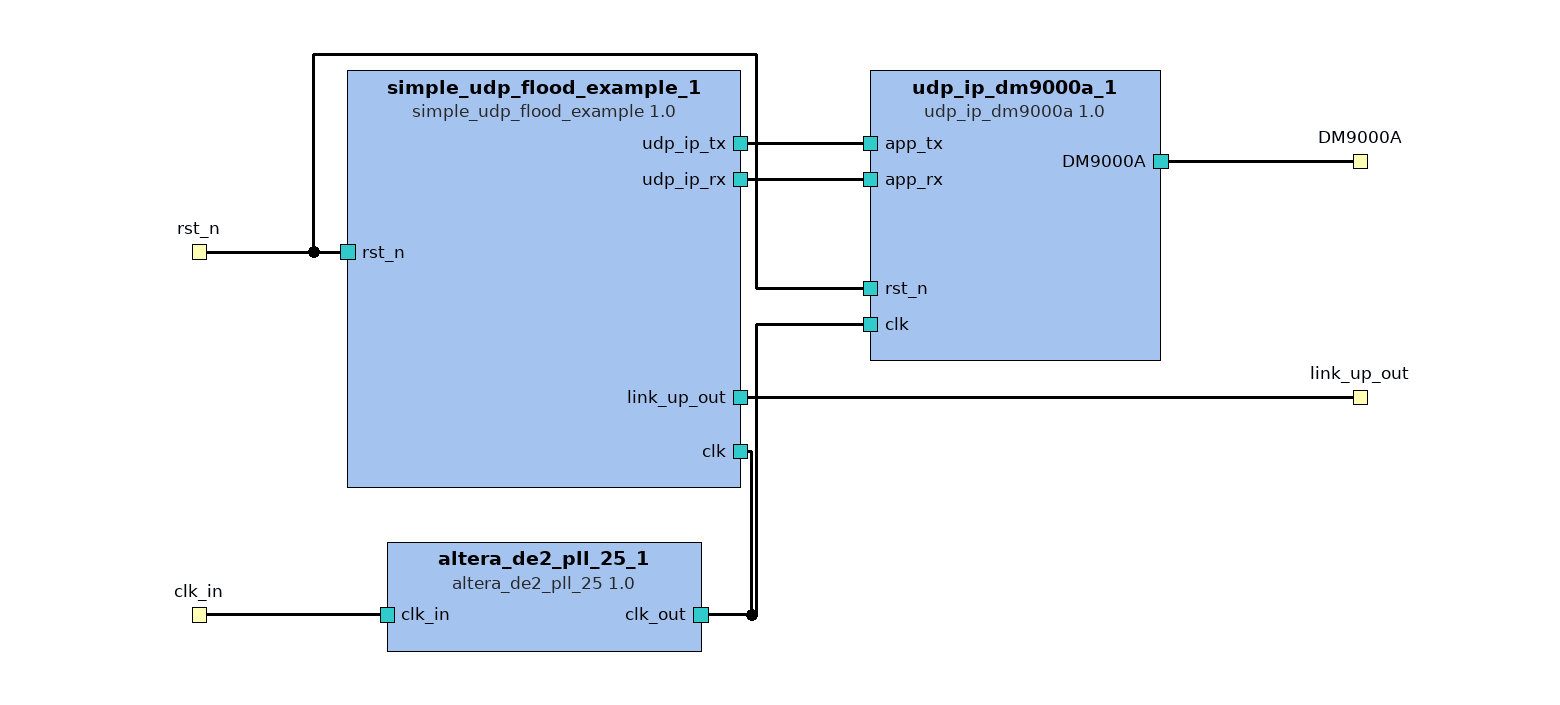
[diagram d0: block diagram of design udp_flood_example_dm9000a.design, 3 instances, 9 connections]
<?xml version="1.0" encoding="UTF-8"?>
<!-- Created by Kactus2 - Open source IP-Xact toolset -->
<!-- http://sourceforge.net/projects/kactus2/ -->
<!-- Date: 18.01.2013 -->
<!-- Time: 12:46:25 -->
<spirit:design xmlns:kactus2="http://funbase.cs.tut.fi/" xmlns:spirit="http://www.spiritconsortium.org/XMLSchema/SPIRIT/1.5" xmlns:xsi="http://www.w3.org/2001/XMLSchema-instance" xsi:schemaLocation="http://www.spiritconsortium.org/XMLSchema/SPIRIT/1.5 http://www.spiritconsortium.org/XMLSchema/SPIRIT/1.5/index.xsd"><spirit:vendor>TUT</spirit:vendor><spirit:library>soc</spirit:library><spirit:name>udp_flood_example_dm9000a.design</spirit:name>
 <spirit:version>1.0</spirit:version><spirit:componentInstances>
 <spirit:componentInstance><spirit:instanceName>udp_ip_dm9000a_1</spirit:instanceName><spirit:componentRef spirit:vendor="TUT" spirit:library="ip.hwp.interface" spirit:name="udp_ip_dm9000a" spirit:version="1.0"/></spirit:componentInstance>
 <spirit:componentInstance><spirit:instanceName>simple_udp_flood_example_1</spirit:instanceName><spirit:componentRef spirit:vendor="TUT" spirit:library="ip.hwp.interface" spirit:name="simple_udp_flood_example" spirit:version="1.0"/></spirit:componentInstance>
 <spirit:componentInstance><spirit:instanceName>altera_de2_pll_25_1</spirit:instanceName><spirit:componentRef spirit:vendor="TUT" spirit:library="ip.hwp.misc" spirit:name="altera_de2_pll_25" spirit:version="1.0"/></spirit:componentInstance>
</spirit:componentInstances><spirit:interconnections>
 <spirit:interconnection><spirit:name>pll_udp</spirit:name><spirit:activeInterface spirit:componentRef="altera_de2_pll_25_1" spirit:busRef="clk_out"/><spirit:activeInterface spirit:componentRef="udp_ip_dm9000a_1" spirit:busRef="clk"/></spirit:interconnection>
 <spirit:interconnection><spirit:name>pll_flooder</spirit:name><spirit:activeInterface spirit:componentRef="altera_de2_pll_25_1" spirit:busRef="clk_out"/><spirit:activeInterface spirit:componentRef="simple_udp_flood_example_1" spirit:busRef="clk"/></spirit:interconnection>
 <spirit:interconnection><spirit:name>udp_flooderrx</spirit:name><spirit:activeInterface spirit:componentRef="simple_udp_flood_example_1" spirit:busRef="udp_ip_rx"/><spirit:activeInterface spirit:componentRef="udp_ip_dm9000a_1" spirit:busRef="app_rx"/></spirit:interconnection>
 <spirit:interconnection><spirit:name>floodertx_udp</spirit:name><spirit:activeInterface spirit:componentRef="simple_udp_flood_example_1" spirit:busRef="udp_ip_tx"/><spirit:activeInterface spirit:componentRef="udp_ip_dm9000a_1" spirit:busRef="app_tx"/></spirit:interconnection>
</spirit:interconnections><spirit:hierConnections>
 <spirit:hierConnection spirit:interfaceRef="DM9000A"><spirit:interface spirit:componentRef="udp_ip_dm9000a_1" spirit:busRef="DM9000A"/></spirit:hierConnection>
 <spirit:hierConnection spirit:interfaceRef="rst_n"><spirit:interface spirit:componentRef="udp_ip_dm9000a_1" spirit:busRef="rst_n"/></spirit:hierConnection>
 <spirit:hierConnection spirit:interfaceRef="rst_n"><spirit:interface spirit:componentRef="simple_udp_flood_example_1" spirit:busRef="rst_n"/></spirit:hierConnection>
 <spirit:hierConnection spirit:interfaceRef="link_up_out"><spirit:interface spirit:componentRef="simple_udp_flood_example_1" spirit:busRef="link_up_out"/></spirit:hierConnection>
 <spirit:hierConnection spirit:interfaceRef="clk_in"><spirit:interface spirit:componentRef="altera_de2_pll_25_1" spirit:busRef="clk_in"/></spirit:hierConnection>
</spirit:hierConnections></spirit:design>

